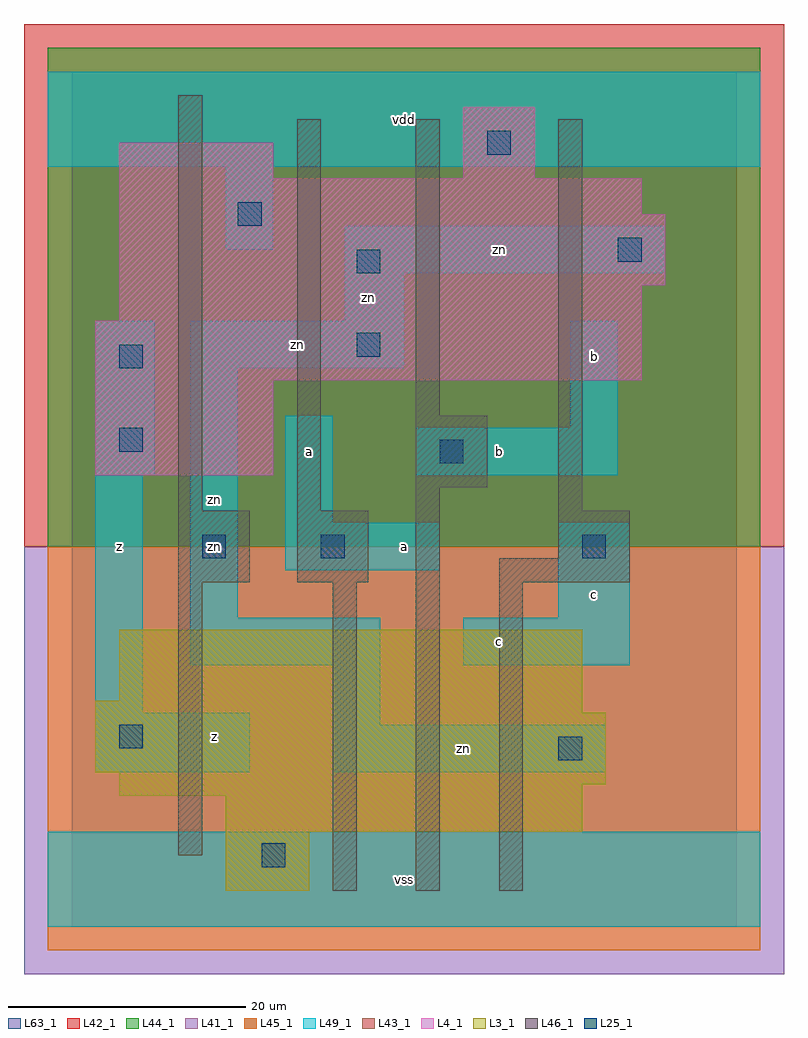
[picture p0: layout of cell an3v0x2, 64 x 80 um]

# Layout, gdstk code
import gdstk
lib = gdstk.Library(unit=1e-6, precision=1e-09)
def R(c, l, rs):  # rectangles x0, y0, x1, y1
    for r in rs: c.add(gdstk.rectangle(r[:2], r[2:], *l))
L3_1 = (3, 1)
L4_1 = (4, 1)
L25_1 = (25, 1)
L41_1 = (41, 1)
L42_1 = (42, 1)
L43_1 = (43, 1)
L44_1 = (44, 1)
L45_1 = (45, 1)
L46_1 = (46, 1)
L49_1 = (49, 1)
L63_1 = (63, 1)

an3v0x2 = lib.new_cell('an3v0x2')
R(an3v0x2, L3_1, [(13,3,20,8), (13,8,43,11), (4,11,43,12), (4,12,45,13), (2,13,45,18), (2,18,43,19), (4,19,43,25)])
R(an3v0x2, L4_1, [(2,38,17,46), (2,46,48,51), (4,51,48,54), (4,54,50,60), (4,60,48,63), (4,63,17,66), (33,63,39,69)])
R(an3v0x2, L25_1, [(16,5,18,7), (41,14,43,16), (4,15,6,17), (11,31,13,33), (21,31,23,33), (43,31,45,33), (31,39,33,41), (4,40,6,42), (4,47,6,49), (24,48,26,50), (24,55,26,57), (46,56,48,58), (14,59,16,61), (35,65,37,67)])
R(an3v0x2, L41_1, [(-4,-4,60,32)])
R(an3v0x2, L42_1, [(-4,32,60,76)])
R(an3v0x2, L43_1, [(13,3,20,8), (13,8,43,11), (4,11,43,12), (4,12,45,13), (2,13,45,18), (2,18,43,19), (4,19,43,25), (2,38,17,46), (2,46,48,51), (4,51,48,54), (4,54,50,60), (4,60,48,63), (4,63,17,66), (33,63,39,69)])
R(an3v0x2, L44_1, [(-2,32,58,74)])
R(an3v0x2, L45_1, [(-2,-2,58,32)])
R(an3v0x2, L46_1, [(22,3,24,29), (29,3,31,37), (36,3,38,29), (9,6,11,29), (9,29,15,35), (19,29,25,35), (36,29,47,31), (41,31,47,35), (9,35,11,70), (19,35,21,68), (41,35,43,68), (29,37,35,43), (29,43,31,68)])
R(an3v0x2, L49_1, [(-2,0,58,8), (2,13,15,18), (22,13,45,17), (22,17,26,22), (2,18,6,38), (10,22,26,26), (33,22,47,26), (10,26,14,47), (41,26,47,34), (18,30,31,34), (18,34,22,43), (2,38,7,51), (29,38,46,42), (42,42,46,51), (10,47,28,51), (23,51,28,55), (23,55,50,59), (13,57,17,64), (-2,64,58,72)])
R(an3v0x2, L63_1, [(0,0,56,72)])
an3v0x2.add(gdstk.Label('zn', (12,32), layer=49, texttype=1))
an3v0x2.add(gdstk.Label('z', (4,32), layer=49, texttype=1))
an3v0x2.add(gdstk.Label('z', (12,16), layer=49, texttype=1))
an3v0x2.add(gdstk.Label('a', (20,40), layer=49, texttype=1))
an3v0x2.add(gdstk.Label('zn', (12,36), layer=49, texttype=1))
an3v0x2.add(gdstk.Label('vss', (28,4), layer=49, texttype=1))
an3v0x2.add(gdstk.Label('a', (28,32), layer=49, texttype=1))
an3v0x2.add(gdstk.Label('c', (36,24), layer=49, texttype=1))
an3v0x2.add(gdstk.Label('b', (36,40), layer=49, texttype=1))
an3v0x2.add(gdstk.Label('zn', (19,49), layer=49, texttype=1))
an3v0x2.add(gdstk.Label('zn', (25,53), layer=49, texttype=1))
an3v0x2.add(gdstk.Label('vdd', (28,68), layer=49, texttype=1))
an3v0x2.add(gdstk.Label('zn', (33,15), layer=49, texttype=1))
an3v0x2.add(gdstk.Label('c', (44,28), layer=49, texttype=1))
an3v0x2.add(gdstk.Label('b', (44,48), layer=49, texttype=1))
an3v0x2.add(gdstk.Label('zn', (36,57), layer=49, texttype=1))

lib.write_gds('an3v0x2.gds')
